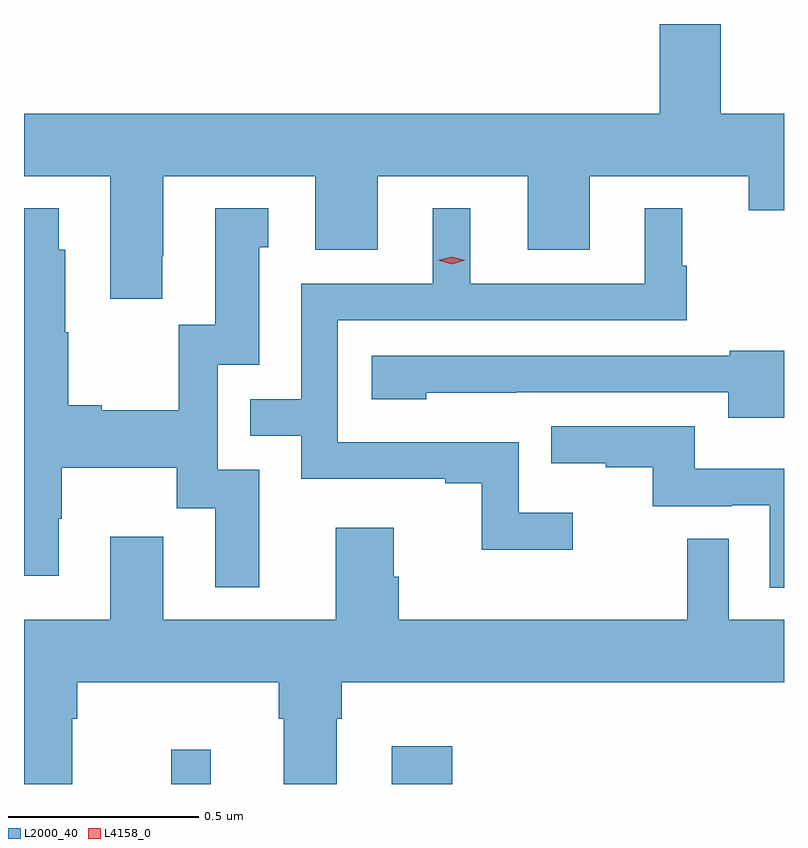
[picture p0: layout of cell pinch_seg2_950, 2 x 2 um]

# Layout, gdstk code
import gdstk
lib = gdstk.Library(unit=1e-6, precision=1e-09)
def R(c, l, rs):  # rectangles x0, y0, x1, y1
    for r in rs: c.add(gdstk.rectangle(r[:2], r[2:], *l))
def P(c, l, *ps):  # polygons
    for p in ps: c.add(gdstk.Polygon(p, *l))
L2000_40 = (2000, 40)
L4158_0 = (4158, 0)

pinch_seg2_950 = lib.new_cell('pinch_seg2_950')
R(pinch_seg2_950, L2000_40, [(569.464,651.364,569.567,651.454), (570.044,651.364,570.203,651.463)])
P(pinch_seg2_950, L2000_40, [(569.44,652.753),(569.443,652.753),(569.443,652.964),(569.843,652.964),(569.843,652.77),(570.007,652.77),(570.007,652.964),(570.401,652.964),(570.401,652.77),(570.565,652.77),(570.565,652.964),(570.983,652.964),(570.983,652.874),(571.076,652.874),(571.076,653.128),(570.909,653.128),(570.909,653.364),(570.749,653.364),(570.749,653.128),(569.076,653.128),(569.076,652.964),(569.303,652.964),(569.303,652.641),(569.44,652.641)],
  [(570.52,652.078),(570.378,652.078),(570.378,652.263),(569.901,652.263),(569.901,652.584),(570.82,652.584),(570.82,652.728),(570.808,652.728),(570.808,652.879),(570.71,652.879),(570.71,652.68),(570.25,652.68),(570.25,652.879),(570.152,652.879),(570.152,652.68),(569.805,652.68),(569.805,652.377),(569.671,652.377),(569.671,652.281),(569.805,652.281),(569.805,652.167),(570.185,652.167),(570.185,652.155),(570.28,652.155),(570.28,651.98),(570.52,651.98)],
  [(569.695,652.191),(569.586,652.191),(569.586,652.467),(569.695,652.467),(569.695,652.776),(569.719,652.776),(569.719,652.879),(569.579,652.879),(569.579,652.572),(569.483,652.572),(569.483,652.348),(569.281,652.348),(569.281,652.361),(569.193,652.361),(569.193,652.553),(569.185,652.553),(569.185,652.77),(569.167,652.77),(569.167,652.879),(569.076,652.879),(569.076,651.912),(569.167,651.912),(569.167,652.062),(569.175,652.062),(569.175,652.196),(569.478,652.196),(569.478,652.09),(569.579,652.09),(569.579,651.882),(569.695,651.882)],
  [(571.076,652.504),(570.933,652.504),(570.933,652.491),(569.991,652.491),(569.991,652.376),(570.135,652.376),(570.135,652.394),(570.371,652.394),(570.371,652.395),(570.929,652.395),(570.929,652.328),(571.076,652.328)],
  [(571.076,652.193),(570.841,652.193),(570.841,652.305),(570.463,652.305),(570.463,652.208),(570.607,652.208),(570.607,652.197),(570.731,652.197),(570.731,652.095),(570.938,652.095),(570.938,652.098),(571.038,652.098),(571.038,651.881),(571.076,651.881)],
  [(569.203,651.536),(569.216,651.536),(569.216,651.632),(569.747,651.632),(569.747,651.536),(569.759,651.536),(569.759,651.364),(569.899,651.364),(569.899,651.536),(569.912,651.536),(569.912,651.632),(571.076,651.632),(571.076,651.796),(570.93,651.796),(570.93,652.01),(570.822,652.01),(570.822,651.796),(570.062,651.796),(570.062,651.909),(570.049,651.909),(570.049,652.039),(569.897,652.039),(569.897,651.796),(569.443,651.796),(569.443,652.015),(569.303,652.015),(569.303,651.796),(569.076,651.796),(569.076,651.364),(569.203,651.364)])
P(pinch_seg2_950, L4158_0, [(570.201,652.732),(570.165,652.742),(570.165,652.742),(570.165,652.742),(570.201,652.752),(570.237,652.742),(570.237,652.742),(570.237,652.742)])

lib.write_gds('pinch_seg2_950.gds')
